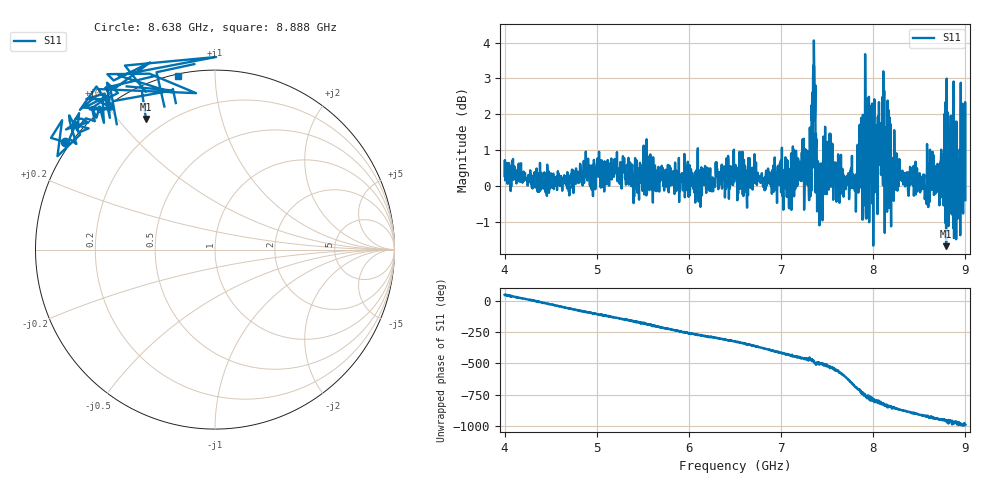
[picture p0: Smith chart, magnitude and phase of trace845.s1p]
! Created with skrf 1.8.0 (http://scikit-rf.org).
# Hz S RI R 50.0
!freq ReS11 ImS11
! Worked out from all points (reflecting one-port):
!   1601 points, 4 GHz to 9 GHz, reference 50 ohm
!   lowest |S11| = -1.7 dB at 8.791 GHz (marker M1), VSWR 10.33, Z = 6.58 + j29.8 ohm
!   phase of S11 starts at 51 deg and turns -1043 deg over the sweep
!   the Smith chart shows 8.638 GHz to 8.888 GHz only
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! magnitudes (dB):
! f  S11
! 4 GHz  0.3
! 4.625 GHz  -0.1
! 5.25 GHz  0.1
! 5.875 GHz  0.3
! 6.5 GHz  0.2
! 7.088 GHz  -0.6
! 7.125 GHz  0.1
! 7.297 GHz  0.5
! 7.356 GHz  4.1
! 7.375 GHz  -0.2
! 7.4 GHz  0.7
! 7.428 GHz  0.3
! 7.525 GHz  1.3
! 7.591 GHz  0.7
! 7.75 GHz  -0.1
! 7.909 GHz  0.0
! 7.928 GHz  1.0
! 7.944 GHz  2.3
! 7.966 GHz  0.4
! 7.981 GHz  0.1
! 8.097 GHz  1.0
! 8.197 GHz  0.4
! 8.375 GHz  0.2
! 8.556 GHz  0.0
! 8.791 GHz  -1.7
! 8.919 GHz  0.0
! 8.972 GHz  0.5
! 9 GHz  -0.4
